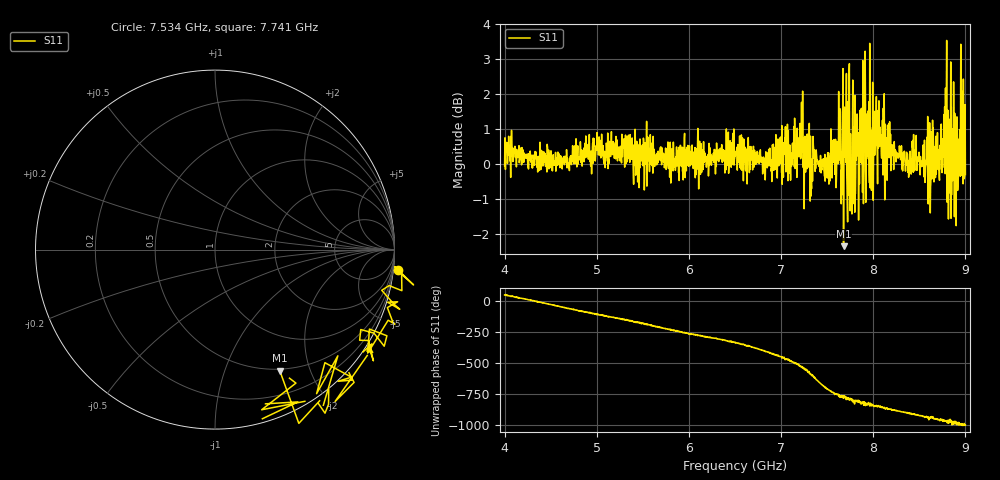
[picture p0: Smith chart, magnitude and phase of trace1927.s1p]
! Created with skrf 1.8.0 (http://scikit-rf.org).
# Hz S RI R 50.0
!freq ReS11 ImS11
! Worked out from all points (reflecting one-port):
!   1601 points, 4 GHz to 9 GHz, reference 50 ohm
!   lowest |S11| = -2.3 dB at 7.678 GHz (marker M1), VSWR 7.49, Z = 24.1 - j78.1 ohm
!   phase of S11 starts at 50 deg and turns -1051 deg over the sweep
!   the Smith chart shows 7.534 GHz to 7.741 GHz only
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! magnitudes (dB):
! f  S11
! 4 GHz  0.0
! 4.625 GHz  -0.1
! 5.25 GHz  0.1
! 5.875 GHz  0.0
! 6.5 GHz  0.3
! 6.806 GHz  0.0
! 7.125 GHz  0.6
! 7.209 GHz  1.0
! 7.319 GHz  0.8
! 7.494 GHz  -0.1
! 7.678 GHz  -2.3
! 7.688 GHz  1.6
! 7.703 GHz  0.1
! 7.716 GHz  -0.6
! 7.75 GHz  -1.3
! 7.775 GHz  1.3
! 7.847 GHz  0.2
! 7.928 GHz  0.4
! 7.944 GHz  1.2
! 8.05 GHz  1.5
! 8.375 GHz  0.0
! 8.622 GHz  -0.7
! 8.656 GHz  0.3
! 8.734 GHz  0.4
! 8.775 GHz  1.6
! 8.906 GHz  0.6
! 8.972 GHz  1.2
! 9 GHz  -0.3
